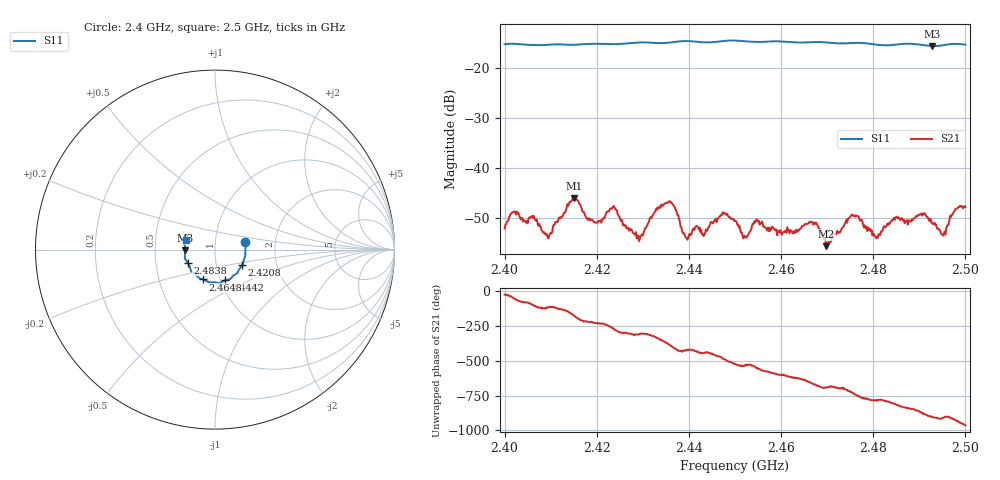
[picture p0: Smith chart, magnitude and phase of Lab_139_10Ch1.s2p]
# Hz S RI R 50
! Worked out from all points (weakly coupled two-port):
!   601 points, 2.4 GHz to 2.5 GHz, reference 50 ohm
!   highest |S21| = -45.97 dB at 2.415 GHz (marker M1); lowest = -55.6 dB at 2.4698 GHz (marker M2)
!   lowest |S11| = -15.6 dB at 2.4928 GHz (marker M3), VSWR 1.40, Z = 35.8 - j0.359 ohm
!   |S11| at or under -10 dB: start of sweep to end of sweep
!   S12 and S22 are empty: the file has one direction only
!   S11 on the Smith chart (normalised r, x): 2.4 GHz: 1.40, +0.12; 2.4208 GHz: 1.33, -0.24; 2.4442 GHz: 1.05, -0.37; 2.4648 GHz: 0.83, -0.28; 2.4838 GHz: 0.73, -0.11; 2.5 GHz: 0.72, +0.08
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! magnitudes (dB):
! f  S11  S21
! 2.4 GHz  -15.2  -52.1
! 2.4022 GHz  -15.2  -48.6
! 2.4097 GHz  -15.3  -53.5
! 2.415 GHz  -15.4  -46.0
! 2.4167 GHz  -15.3  -47.9
! 2.4208 GHz  -15.2  -50.4
! 2.4238 GHz  -15.2  -47.9
! 2.4292 GHz  -14.9  -54.6
! 2.4333 GHz  -15.0  -48.1
! 2.4363 GHz  -14.9  -47.0
! 2.4393 GHz  -14.6  -53.8
! 2.4442 GHz  -14.9  -51.8
! 2.45 GHz  -14.5  -50.4
! 2.4648 GHz  -14.9  -51.5
! 2.4667 GHz  -14.8  -50.8
! 2.4698 GHz  -14.9  -55.6
! 2.4755 GHz  -15.0  -49.3
! 2.4833 GHz  -15.5  -51.0
! 2.4838 GHz  -15.4  -50.6
! 2.4928 GHz  -15.6  -51.1
! 2.4952 GHz  -15.5  -53.5
! 2.5 GHz  -15.3  -47.7
